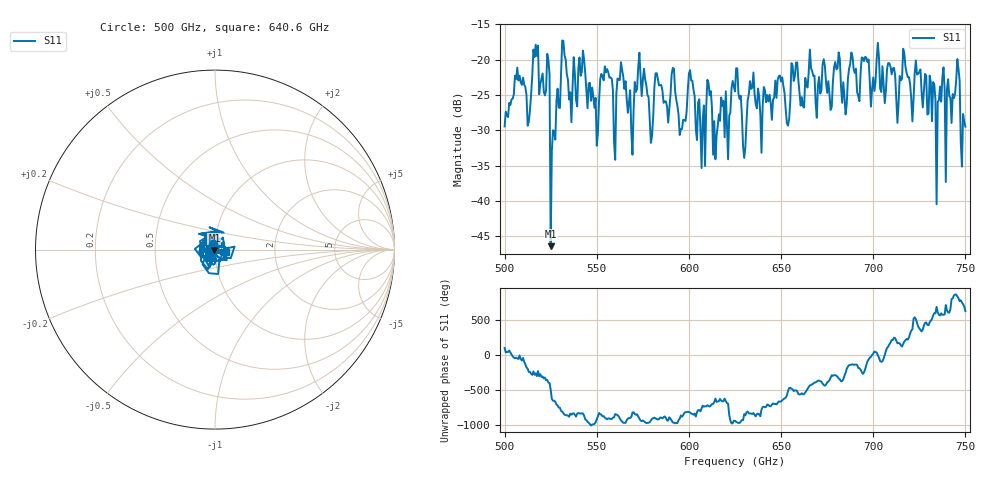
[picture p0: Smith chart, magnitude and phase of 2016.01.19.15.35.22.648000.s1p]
!Created with skrf (http://scikit-rf.org).
# GHz S RI R 50.0
!freq ReS11 ImS11
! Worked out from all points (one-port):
!   401 points, 500 GHz to 750 GHz, reference 50 ohm
!   lowest |S11| = -46.4 dB at 525 GHz (marker M1), VSWR 1.01, Z = 49.7 - j0.355 ohm
!   |S11| at or under -10 dB: start of sweep to end of sweep
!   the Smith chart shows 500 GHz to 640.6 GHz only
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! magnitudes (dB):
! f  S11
! 500 GHz  -29.4
! 506.9 GHz  -21.1
! 513.1 GHz  -28.8
! 516.9 GHz  -17.9
! 523.1 GHz  -19.2
! 525 GHz  -46.4
! 526.2 GHz  -30.0
! 531.2 GHz  -17.3
! 550 GHz  -32.2
! 562.5 GHz  -22.9
! 568.1 GHz  -24.3
! 573.8 GHz  -22.2
! 579.4 GHz  -31.8
! 582.5 GHz  -21.9
! 593.8 GHz  -26.5
! 601.2 GHz  -22.9
! 607.5 GHz  -28.4
! 611.2 GHz  -25.0
! 614.4 GHz  -34.1
! 625 GHz  -24.5
! 630 GHz  -33.9
! 633.8 GHz  -24.1
! 656.2 GHz  -20.8
! 687.5 GHz  -20.6
! 718.8 GHz  -22.5
! 735.6 GHz  -25.7
! 745.6 GHz  -19.9
! 750 GHz  -29.5
